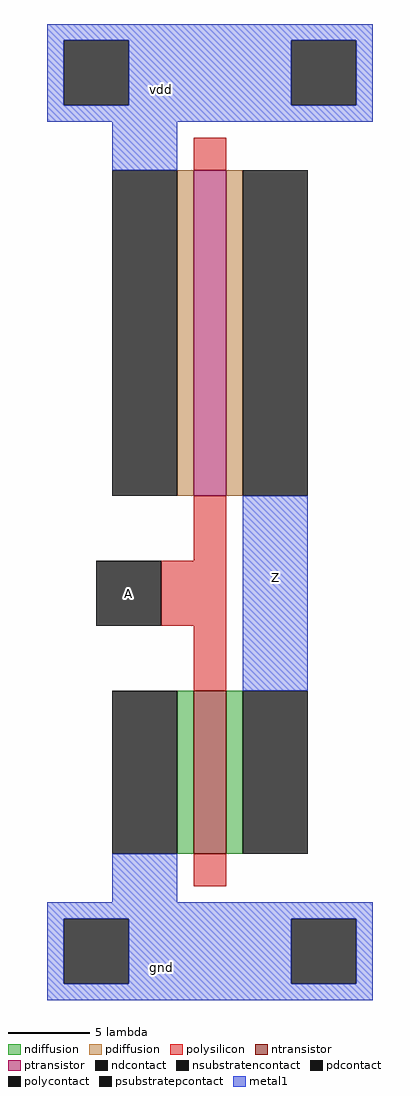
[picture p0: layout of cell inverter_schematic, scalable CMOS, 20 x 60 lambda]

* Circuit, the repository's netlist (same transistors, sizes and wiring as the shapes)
* SPICE3 file created from inverter_schematic.ext - technology: scmos
.include ./ami05.txt
.option scale=0.3u

Vpower vdd gnd 3.3
Vin A gnd pulse(0, 3.3, 100p, 50p, 200p, 500p)

M1000 Z A gnd Gnd nfet w=10 l=2
+  ad=50 pd=30 as=50 ps=30
M1001 Z A vdd Vdd pfet w=20 l=2
+  ad=100 pd=50 as=100 ps=50

.tran 1p 1200p
.end

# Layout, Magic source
magic
tech scmos
<< ntransistor >>
rect 5 -22 7 -12
<< ptransistor >>
rect 5 0 7 20
<< ndiffusion >>
rect 4 -22 5 -12
rect 7 -22 8 -12
<< pdiffusion >>
rect 4 0 5 20
rect 7 0 8 20
<< ndcontact >>
rect 0 -22 4 -12
rect 8 -22 12 -12
<< pdcontact >>
rect 0 0 4 20
rect 8 0 12 20
<< psubstratepcontact >>
rect -3 -30 1 -26
rect 11 -30 15 -26
<< nsubstratencontact >>
rect -3 24 1 28
rect 11 24 15 28
<< polysilicon >>
rect 5 20 7 22
rect 5 -4 7 0
rect 3 -8 7 -4
rect 5 -12 7 -8
rect 5 -24 7 -22
<< polycontact >>
rect -1 -8 3 -4
<< metal1 >>
rect -4 28 16 29
rect -4 24 -3 28
rect 1 24 11 28
rect 15 24 16 28
rect -4 23 16 24
rect 0 20 4 23
rect 8 -12 12 0
rect 0 -25 4 -22
rect -4 -26 16 -25
rect -4 -30 -3 -26
rect 1 -30 11 -26
rect 15 -30 16 -26
rect -4 -31 16 -30
<< labels >>
rlabel metal1 3 25 3 25 5 vdd
rlabel metal1 3 -29 3 -29 1 gnd
rlabel metal1 10 -5 10 -5 1 Z
rlabel polycontact 1 -6 1 -6 3 A
<< end >>
